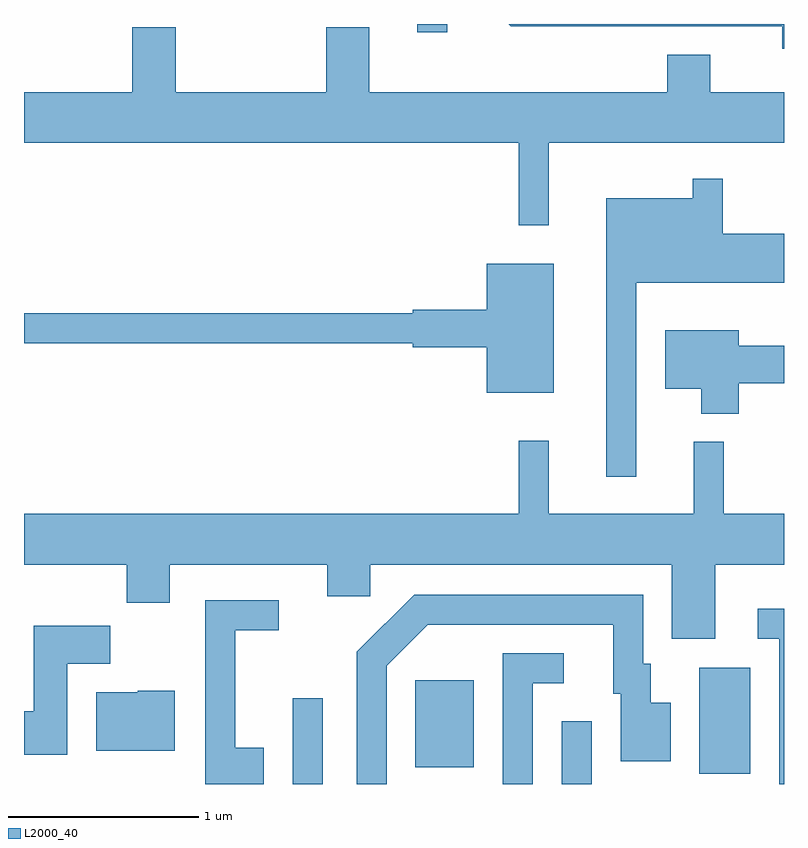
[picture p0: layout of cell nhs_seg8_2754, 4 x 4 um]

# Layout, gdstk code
import gdstk
lib = gdstk.Library(unit=1e-6, precision=1e-09)
def R(c, l, rs):  # rectangles x0, y0, x1, y1
    for r in rs: c.add(gdstk.rectangle(r[:2], r[2:], *l))
def P(c, l, *ps):  # polygons
    for p in ps: c.add(gdstk.Polygon(p, *l))
L2000_40 = (2000, 40)

nhs_seg8_2754 = lib.new_cell('nhs_seg8_2754')
R(nhs_seg8_2754, L2000_40, [(269.026,1866.342,269.184,1866.793), (270.441,1866.342,270.599,1866.673), (271.166,1866.396,271.434,1866.954), (269.671,1866.431,269.979,1866.889), (269.681,1870.298,269.839,1870.342)])
P(nhs_seg8_2754, L2000_40, [(271.611,1870.342),(270.163,1870.342),(270.174,1870.331),(271.601,1870.331),(271.601,1870.211),(271.611,1870.211)],
  [(270.374,1869.716),(271.611,1869.716),(271.611,1869.984),(271.224,1869.984),(271.224,1870.179),(270.996,1870.179),(270.996,1869.984),(269.429,1869.984),(269.429,1870.324),(269.201,1870.324),(269.201,1869.984),(268.409,1869.984),(268.409,1870.324),(268.181,1870.324),(268.181,1869.984),(267.611,1869.984),(267.611,1869.716),(270.216,1869.716),(270.216,1869.283),(270.374,1869.283)],
  [(270.834,1868.981),(271.611,1868.981),(271.611,1869.239),(271.289,1869.239),(271.289,1869.528),(271.131,1869.528),(271.131,1869.424),(270.676,1869.424),(270.676,1867.958),(270.834,1867.958)],
  [(270.399,1869.079),(270.046,1869.079),(270.046,1868.839),(269.656,1868.839),(269.656,1868.819),(267.611,1868.819),(267.611,1868.661),(269.656,1868.661),(269.656,1868.641),(270.046,1868.641),(270.046,1868.401),(270.399,1868.401)],
  [(271.374,1868.451),(271.611,1868.451),(271.611,1868.649),(271.374,1868.649),(271.374,1868.729),(270.986,1868.729),(270.986,1868.421),(271.176,1868.421),(271.176,1868.291),(271.374,1868.291)],
  [(270.374,1868.148),(270.216,1868.148),(270.216,1867.764),(267.611,1867.764),(267.611,1867.496),(268.151,1867.496),(268.151,1867.296),(268.379,1867.296),(268.379,1867.496),(269.206,1867.496),(269.206,1867.331),(269.434,1867.331),(269.434,1867.496),(271.021,1867.496),(271.021,1867.106),(271.249,1867.106),(271.249,1867.496),(271.611,1867.496),(271.611,1867.764),(271.294,1867.764),(271.294,1868.143),(271.136,1868.143),(271.136,1867.764),(270.374,1867.764)],
  [(269.519,1866.964),(269.737,1867.181),(270.711,1867.181),(270.711,1866.816),(270.751,1866.816),(270.751,1866.461),(271.014,1866.461),(271.014,1866.769),(270.909,1866.769),(270.909,1866.974),(270.869,1866.974),(270.869,1867.339),(269.664,1867.339),(269.361,1867.037),(269.361,1866.342),(269.519,1866.342)],
  [(268.874,1866.534),(268.724,1866.534),(268.724,1867.151),(268.953,1867.151),(268.953,1867.309),(268.566,1867.309),(268.566,1866.342),(268.874,1866.342)],
  [(271.611,1867.264),(271.473,1867.264),(271.473,1867.106),(271.586,1867.106),(271.586,1866.342),(271.611,1866.342)],
  [(267.839,1866.976),(268.064,1866.976),(268.064,1867.174),(267.661,1867.174),(267.661,1866.724),(267.611,1866.724),(267.611,1866.496),(267.839,1866.496)],
  [(270.289,1866.871),(270.453,1866.871),(270.453,1867.029),(270.131,1867.029),(270.131,1866.342),(270.289,1866.342)],
  [(268.404,1866.834),(268.21,1866.834),(268.21,1866.824),(267.991,1866.824),(267.991,1866.516),(268.404,1866.516)])

lib.write_gds('nhs_seg8_2754.gds')
